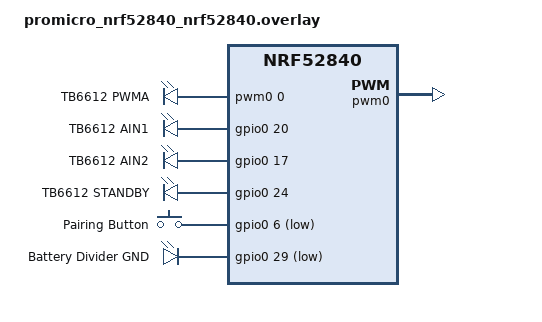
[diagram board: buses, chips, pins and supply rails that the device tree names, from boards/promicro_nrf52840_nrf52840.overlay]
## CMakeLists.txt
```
#
# CMakeLists.txt for LED Copper String Zigbee Controller
#
# SPDX-License-Identifier: Apache-2.0
#

cmake_minimum_required(VERSION 3.20.0)

find_package(Zephyr REQUIRED HINTS $ENV{ZEPHYR_BASE})

project("LED Copper String Controller")

target_sources(app PRIVATE
    ${CMAKE_CURRENT_SOURCE_DIR}/src/main.c
)

target_include_directories(app PRIVATE
    ${CMAKE_CURRENT_SOURCE_DIR}/include
)

# Add include path for pm_config.h (needed by partition manager)
zephyr_include_directories(${CMAKE_CURRENT_SOURCE_DIR}/include)
```

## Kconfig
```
# Application-specific Kconfig options

menu "Application Configuration"

config APP_TB6612_POLARITY_FREQ_HZ
	int "TB6612 polarity alternation frequency (Hz)"
	default 100
	help
	  How fast to alternate polarity to light both LED halves.
	  Higher values = smoother appearance but more CPU usage.
	  100Hz is a good starting point (invisible flicker).

config APP_BATTERY_REPORT_INTERVAL_SEC
	int "Battery report interval in seconds"
	default 600
	help
	  How often to report battery level to the Zigbee coordinator.
	  Default is 3600 seconds (1 hour). Also reports on network join.

endmenu

source "Kconfig.zephyr"
```

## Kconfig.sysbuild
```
#
# Sysbuild Kconfig for LED Copper String Controller
#

if BOOTLOADER_MCUBOOT

# DFU multi-image support for Zigbee OTA
config DFU_MULTI_IMAGE_PACKAGE_BUILD
	default y

config DFU_MULTI_IMAGE_PACKAGE_APP
	default y

endif # BOOTLOADER_MCUBOOT

source "${ZEPHYR_BASE}/share/sysbuild/Kconfig"
```

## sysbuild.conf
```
#
# Base sysbuild configuration for LED Copper String Controller
# MCUboot is disabled by default - board-specific configs enable it
#

SB_CONFIG_BOOTLOADER_MCUBOOT=n
```

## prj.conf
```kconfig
#
# LED Copper String Zigbee Controller Configuration
# Target: Pro Micro nRF52840
#

# Pull in nRF Connect SDK defaults
CONFIG_NCS_SAMPLES_DEFAULTS=y

# Serial / Console
CONFIG_SERIAL=y
CONFIG_CONSOLE=y
CONFIG_UART_CONSOLE=y
CONFIG_UART_INTERRUPT_DRIVEN=y

# Logging
CONFIG_LOG=y
CONFIG_LOG_DEFAULT_LEVEL=3
CONFIG_LOG_BACKEND_UART=y

# GPIO and PWM
CONFIG_GPIO=y
CONFIG_PWM=y

# ADC for battery voltage measurement
CONFIG_ADC=y

# Memory
CONFIG_HEAP_MEM_POOL_SIZE=4096
CONFIG_MAIN_THREAD_PRIORITY=7
CONFIG_SYSTEM_WORKQUEUE_STACK_SIZE=2048

# Zigbee - using ncs-zigbee R23 add-on
CONFIG_ZIGBEE_ADD_ON=y
CONFIG_ZIGBEE_APP_UTILS=y
CONFIG_ZIGBEE_ROLE_END_DEVICE=y
CONFIG_ZIGBEE_CHANNEL_SELECTION_MODE_MULTI=y

# Crypto for Zigbee security
CONFIG_CRYPTO=y
CONFIG_CRYPTO_NRF_ECB=y
CONFIG_CRYPTO_INIT_PRIORITY=80

# Flash / NVS for persistent storage
CONFIG_FLASH=y
CONFIG_FLASH_PAGE_LAYOUT=y
CONFIG_FLASH_MAP=y
CONFIG_NVS=y
CONFIG_SETTINGS=y
CONFIG_SETTINGS_NVS=y
CONFIG_MPU_ALLOW_FLASH_WRITE=y

# Networking (disable unused)
CONFIG_NET_IPV6=n
CONFIG_NET_IP_ADDR_CHECK=n
CONFIG_NET_UDP=n

# Partition Manager - board-specific configs handle this
```

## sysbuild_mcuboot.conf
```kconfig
#
# Sysbuild configuration for MCUboot OTA-enabled builds
#

SB_CONFIG_BOOTLOADER_MCUBOOT=y
```

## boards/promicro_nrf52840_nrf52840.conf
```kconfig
#
# Pro Micro nRF52840 - OTA enabled via MCUboot (sysbuild handles bootloader)
#

# Disable nRF5 bootloader assumption - we use MCUboot from address 0x0
CONFIG_BOARD_HAS_NRF5_BOOTLOADER=n

# =============================================================================
# Power Optimization for Battery Operation
# =============================================================================

# Disable USB serial console (saves ~1-2mA constantly)
# For development with serial debug, comment out these 4 lines:
CONFIG_USB_DEVICE_STACK=n
CONFIG_SERIAL=n
CONFIG_CONSOLE=n
CONFIG_LOG=n

# Power management - enables sleep between Zigbee polls
CONFIG_PM=y

# RAM power down during sleep (significant power savings)
CONFIG_RAM_POWER_DOWN_LIBRARY=y

# =============================================================================
# Zigbee FOTA (OTA Updates)
# =============================================================================
CONFIG_ZIGBEE_FOTA=y
CONFIG_ZIGBEE_FOTA_HW_VERSION=1
CONFIG_ZIGBEE_FOTA_ENDPOINT=10
CONFIG_ZIGBEE_FOTA_COMMENT="LEDCopperV1"
CONFIG_ZIGBEE_FOTA_PROGRESS_EVT=y

# DFU support
CONFIG_DFU_TARGET=y
CONFIG_DFU_TARGET_MCUBOOT=y
CONFIG_STREAM_FLASH=y
CONFIG_IMG_MANAGER=y
CONFIG_IMG_ERASE_PROGRESSIVELY=y

# Image version (increment for each OTA release)
CONFIG_MCUBOOT_IMGTOOL_SIGN_VERSION="1.0.0"
```

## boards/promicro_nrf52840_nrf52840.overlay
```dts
/*
 * Device Tree Overlay for LED Copper String Controller
 * Target: Pro Micro nRF52840 (SuperMini, nice!nano compatible)
 *
 * TB6612 H-Bridge Pin Assignments:
 * - PWMA:    P0.22 - PWM brightness control
 * - AIN1:    P0.20 - Polarity control 1
 * - AIN2:    P0.17 - Polarity control 2
 * - STANDBY: P0.24 - Power save (HIGH = active, LOW = standby)
 *
 * Battery Measurement (voltage divider):
 * - VBATT -> 1MΩ -> P0.31 (AIN7) -> 1MΩ -> P0.29
 * - P0.29: Drive LOW to enable divider, high-Z when idle
 * - P0.31: Analog input (AIN7), measures VBATT/2
 *
 * Other:
 * - Pairing Button: P0.06 (D1) - Active low with internal pull-up
 * - Status LED: P0.15 (onboard) - For network status indication
 *
 * Note: Flash partitions are auto-generated by partition manager
 * when CONFIG_BOOTLOADER_MCUBOOT=y (for OTA support).
 */

/ {
	chosen {
		zephyr,console = &uart0;
		zephyr,shell-uart = &uart0;
		/* settings-partition auto-configured by partition manager */
	};

	aliases {
		pwm-led0 = &pwm_brightness;
		sw0 = &pairing_button;
		led0 = &led0;  /* Onboard LED (P0.15) for status */
	};

	/* PWM for TB6612 PWMA (brightness control) */
	pwmleds {
		compatible = "pwm-leds";
		pwm_brightness: pwm_led_0 {
			pwms = <&pwm0 0 PWM_MSEC(1) PWM_POLARITY_NORMAL>;
			label = "TB6612 PWMA";
		};
	};

	/* TB6612 GPIO control pins */
	tb6612_ctrl {
		compatible = "gpio-leds";

		tb6612_ain1: ain1 {
			gpios = <&gpio0 20 GPIO_ACTIVE_HIGH>;
			label = "TB6612 AIN1";
		};

		tb6612_ain2: ain2 {
			gpios = <&gpio0 17 GPIO_ACTIVE_HIGH>;
			label = "TB6612 AIN2";
		};

		tb6612_standby: standby {
			gpios = <&gpio0 24 GPIO_ACTIVE_HIGH>;
			label = "TB6612 STANDBY";
		};
	};

	buttons {
		compatible = "gpio-keys";
		pairing_button: button_0 {
			gpios = <&gpio0 6 (GPIO_PULL_UP | GPIO_ACTIVE_LOW)>;
			label = "Pairing Button";
			zephyr,code = <INPUT_KEY_0>;
		};
	};

	/* Battery voltage divider control */
	battery_divider {
		compatible = "gpio-leds";
		batt_divider_gnd: batt_gnd {
			gpios = <&gpio0 29 GPIO_ACTIVE_LOW>;
			label = "Battery Divider GND";
		};
	};
};

/* Remap PWM0 to P0.22 for TB6612 PWMA */
&pinctrl {
	pwm0_default: pwm0_default {
		group1 {
			psels = <NRF_PSEL(PWM_OUT0, 0, 22)>;  /* P0.22 = PWMA */
		};
	};

	pwm0_sleep: pwm0_sleep {
		group1 {
			psels = <NRF_PSEL(PWM_OUT0, 0, 22)>;
			low-power-enable;
		};
	};
};

&pwm0 {
	status = "okay";
};

&gpio0 {
	status = "okay";
};
```

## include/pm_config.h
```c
/*
 * Partition Manager configuration for LED Copper String Controller
 * Compatible with flash_map_partition_manager.c
 * Pro Micro nRF52840 only
 */

#ifndef PM_CONFIG_H
#define PM_CONFIG_H

#include <autoconf.h>

/*
 * Pro Micro nRF52840 layout (with MCUboot):
 *   ID 0: 0x000000 - mcuboot
 *   ID 1: 0x00C000 - slot0_partition (primary app)
 *   ID 2: 0x082000 - slot1_partition (secondary/OTA)
 *   ID 3: 0x0E8000 - ZBOSS NVRAM (32KB)
 *   ID 4: 0x0F0000 - ZBOSS Product Config (4KB)
 *   ID 5: 0x0F8000 - Settings Storage (32KB)
 */

#define PM_NUM 6

#define PM_0_LABEL MCUBOOT
#define PM_1_LABEL MCUBOOT_PRIMARY
#define PM_2_LABEL MCUBOOT_SECONDARY
#define PM_3_LABEL ZBOSS_NVRAM
#define PM_4_LABEL ZBOSS_PRODUCT_CONFIG
#define PM_5_LABEL SETTINGS_STORAGE

#define PM_MCUBOOT_ID                   0
#define PM_MCUBOOT_OFFSET               0x0
#define PM_MCUBOOT_SIZE                 0xC000
#define PM_MCUBOOT_DEV                  flash_controller
#define PM_MCUBOOT_DEFAULT_DRIVER_KCONFIG 1

#define PM_MCUBOOT_PRIMARY_ID           1
#define PM_MCUBOOT_PRIMARY_OFFSET       0xC000
#define PM_MCUBOOT_PRIMARY_SIZE         0x76000
#define PM_MCUBOOT_PRIMARY_DEV          flash_controller
#define PM_MCUBOOT_PRIMARY_DEFAULT_DRIVER_KCONFIG 1

#define PM_MCUBOOT_SECONDARY_ID         2
#define PM_MCUBOOT_SECONDARY_OFFSET     0x82000
#define PM_MCUBOOT_SECONDARY_SIZE       0x66000
#define PM_MCUBOOT_SECONDARY_DEV        flash_controller
#define PM_MCUBOOT_SECONDARY_DEFAULT_DRIVER_KCONFIG 1

#define PM_ZBOSS_NVRAM_ID               3
#define PM_ZBOSS_NVRAM_OFFSET           0xE8000
#define PM_ZBOSS_NVRAM_SIZE             0x8000
#define PM_ZBOSS_NVRAM_DEV              flash_controller
#define PM_ZBOSS_NVRAM_DEFAULT_DRIVER_KCONFIG 1

#define PM_ZBOSS_PRODUCT_CONFIG_ID      4
#define PM_ZBOSS_PRODUCT_CONFIG_OFFSET  0xF0000
#define PM_ZBOSS_PRODUCT_CONFIG_SIZE    0x1000
#define PM_ZBOSS_PRODUCT_CONFIG_DEV     flash_controller
#define PM_ZBOSS_PRODUCT_CONFIG_DEFAULT_DRIVER_KCONFIG 1

#define PM_SETTINGS_STORAGE_ID          5
#define PM_SETTINGS_STORAGE_OFFSET      0xF8000
#define PM_SETTINGS_STORAGE_SIZE        0x8000
#define PM_SETTINGS_STORAGE_DEV         flash_controller
#define PM_SETTINGS_STORAGE_DEFAULT_DRIVER_KCONFIG 1

/* Legacy address macros for compatibility */
#define PM_ZBOSS_NVRAM_ADDRESS          PM_ZBOSS_NVRAM_OFFSET
#define PM_ZBOSS_PRODUCT_CONFIG_ADDRESS PM_ZBOSS_PRODUCT_CONFIG_OFFSET

#endif /* PM_CONFIG_H */
```

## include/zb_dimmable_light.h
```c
/*
 * Copyright (c) 2022 Nordic Semiconductor ASA
 *
 * SPDX-License-Identifier: LicenseRef-Nordic-5-Clause
 */

#ifndef ZB_DIMMABLE_LIGHT_H
#define ZB_DIMMABLE_LIGHT_H 1

/**
 *  @defgroup ZB_DEFINE_DEVICE_DIMMABLE_LIGHT Dimmable Light
 *  @{
 *  @details
 *      - @ref ZB_ZCL_BASIC \n
 *      - @ref ZB_ZCL_IDENTIFY \n
 *      - @ref ZB_ZCL_SCENES \n
 *      - @ref ZB_ZCL_GROUPS \n
 *      - @ref ZB_ZCL_ON_OFF \n
 *      - @ref ZB_ZCL_LEVEL_CONTROL
 */

/** Dimmable Light Device ID */
#define ZB_DIMMABLE_LIGHT_DEVICE_ID 0x0101

/** Dimmable light device version */
#define ZB_DEVICE_VER_DIMMABLE_LIGHT 1

/** @cond internals_doc */

/** Dimmable Light IN (server) clusters number */
#define ZB_DIMMABLE_LIGHT_IN_CLUSTER_NUM 6

/** Dimmable Light OUT (client) clusters number */
#define ZB_DIMMABLE_LIGHT_OUT_CLUSTER_NUM 0

/** Dimmable light total (IN+OUT) cluster number */
#define ZB_DIMMABLE_LIGHT_CLUSTER_NUM \
	(ZB_DIMMABLE_LIGHT_IN_CLUSTER_NUM + ZB_DIMMABLE_LIGHT_OUT_CLUSTER_NUM)

/** Number of attribute for reporting on Dimmable Light device */
#define ZB_DIMMABLE_LIGHT_REPORT_ATTR_COUNT \
	(ZB_ZCL_ON_OFF_REPORT_ATTR_COUNT + ZB_ZCL_LEVEL_CONTROL_REPORT_ATTR_COUNT)

/** Continuous value change attribute count */
#define ZB_DIMMABLE_LIGHT_CVC_ATTR_COUNT 1

/** @endcond */ /* internals_doc */

/**
 * @brief Declare cluster list for Dimmable Light device
 * @param cluster_list_name - cluster list variable name
 * @param basic_attr_list - attribute list for Basic cluster
 * @param identify_attr_list - attribute list for Identify cluster
 * @param groups_attr_list - attribute list for Groups cluster
 * @param scenes_attr_list - attribute list for Scenes cluster
 * @param on_off_attr_list - attribute list for On/Off cluster
 * @param level_control_attr_list - attribute list for Level Control cluster
 */
#define ZB_DECLARE_DIMMABLE_LIGHT_CLUSTER_LIST(					   \
	cluster_list_name,							   \
	basic_attr_list,							   \
	identify_attr_list,							   \
	groups_attr_list,							   \
	scenes_attr_list,							   \
	on_off_attr_list,							   \
	level_control_attr_list)						   \
	zb_zcl_cluster_desc_t cluster_list_name[] =				   \
	{									   \
		ZB_ZCL_CLUSTER_DESC(						   \
			ZB_ZCL_CLUSTER_ID_IDENTIFY,				   \
			ZB_ZCL_ARRAY_SIZE(identify_attr_list, zb_zcl_attr_t),	   \
			(identify_attr_list),					   \
			ZB_ZCL_CLUSTER_SERVER_ROLE,				   \
			ZB_ZCL_MANUF_CODE_INVALID				   \
		),								   \
		ZB_ZCL_CLUSTER_DESC(						   \
			ZB_ZCL_CLUSTER_ID_BASIC,				   \
			ZB_ZCL_ARRAY_SIZE(basic_attr_list, zb_zcl_attr_t),	   \
			(basic_attr_list),					   \
			ZB_ZCL_CLUSTER_SERVER_ROLE,				   \
			ZB_ZCL_MANUF_CODE_INVALID				   \
		),								   \
		ZB_ZCL_CLUSTER_DESC(						   \
			ZB_ZCL_CLUSTER_ID_SCENES,				   \
			ZB_ZCL_ARRAY_SIZE(scenes_attr_list, zb_zcl_attr_t),	   \
			(scenes_attr_list),					   \
			ZB_ZCL_CLUSTER_SERVER_ROLE,				   \
			ZB_ZCL_MANUF_CODE_INVALID				   \
		),								   \
		ZB_ZCL_CLUSTER_DESC(						   \
			ZB_ZCL_CLUSTER_ID_GROUPS,				   \
			ZB_ZCL_ARRAY_SIZE(groups_attr_list, zb_zcl_attr_t),	   \
			(groups_attr_list),					   \
			ZB_ZCL_CLUSTER_SERVER_ROLE,				   \
			ZB_ZCL_MANUF_CODE_INVALID				   \
		),								   \
		ZB_ZCL_CLUSTER_DESC(						   \
			ZB_ZCL_CLUSTER_ID_ON_OFF,				   \
			ZB_ZCL_ARRAY_SIZE(on_off_attr_list, zb_zcl_attr_t),	   \
			(on_off_attr_list),					   \
			ZB_ZCL_CLUSTER_SERVER_ROLE,				   \
			ZB_ZCL_MANUF_CODE_INVALID				   \
		),								   \
		ZB_ZCL_CLUSTER_DESC(						   \
			ZB_ZCL_CLUSTER_ID_LEVEL_CONTROL,			   \
			ZB_ZCL_ARRAY_SIZE(level_control_attr_list, zb_zcl_attr_t), \
			(level_control_attr_list),				   \
			ZB_ZCL_CLUSTER_SERVER_ROLE,				   \
			ZB_ZCL_MANUF_CODE_INVALID				   \
		)								   \
	}

/** @cond internals_doc */
/**
 * @brief Declare simple descriptor for Dimmable Light device
 * @param ep_name - endpoint variable name
 * @param ep_id - endpoint ID
 * @param in_clust_num - number of supported input clusters
 * @param out_clust_num - number of supported output clusters
 */
#define ZB_ZCL_DECLARE_HA_DIMMABLE_LIGHT_SIMPLE_DESC(ep_name, ep_id, in_clust_num, out_clust_num) \
	ZB_DECLARE_SIMPLE_DESC(in_clust_num, out_clust_num);					  \
	ZB_AF_SIMPLE_DESC_TYPE(in_clust_num, out_clust_num) simple_desc_##ep_name =		  \
	{											  \
		ep_id,										  \
		ZB_AF_HA_PROFILE_ID,								  \
		ZB_DIMMABLE_LIGHT_DEVICE_ID,							  \
		ZB_DEVICE_VER_DIMMABLE_LIGHT,							  \
		0,										  \
		in_clust_num,									  \
		out_clust_num,									  \
		{										  \
			ZB_ZCL_CLUSTER_ID_BASIC,						  \
			ZB_ZCL_CLUSTER_ID_IDENTIFY,						  \
			ZB_ZCL_CLUSTER_ID_SCENES,						  \
			ZB_ZCL_CLUSTER_ID_GROUPS,						  \
			ZB_ZCL_CLUSTER_ID_ON_OFF,						  \
			ZB_ZCL_CLUSTER_ID_LEVEL_CONTROL,					  \
		}										  \
	}

/** @endcond */ /* internals_doc */

/**
 * @brief Declare endpoint for Dimmable Light device
 * @param ep_name - endpoint variable name
 * @param ep_id - endpoint ID
 * @param cluster_list - endpoint cluster list
 */
#define ZB_DECLARE_DIMMABLE_LIGHT_EP(ep_name, ep_id, cluster_list)		      \
	ZB_ZCL_DECLARE_HA_DIMMABLE_LIGHT_SIMPLE_DESC(ep_name, ep_id,		      \
		ZB_DIMMABLE_LIGHT_IN_CLUSTER_NUM, ZB_DIMMABLE_LIGHT_OUT_CLUSTER_NUM); \
	ZBOSS_DEVICE_DECLARE_REPORTING_CTX(reporting_info## ep_name,		      \
		ZB_DIMMABLE_LIGHT_REPORT_ATTR_COUNT);				      \
	ZBOSS_DEVICE_DECLARE_LEVEL_CONTROL_CTX(cvc_alarm_info## ep_name,	      \
		ZB_DIMMABLE_LIGHT_CVC_ATTR_COUNT);				      \
	ZB_AF_DECLARE_ENDPOINT_DESC(ep_name, ep_id, ZB_AF_HA_PROFILE_ID,	      \
		0,								      \
		NULL,								      \
		ZB_ZCL_ARRAY_SIZE(cluster_list, zb_zcl_cluster_desc_t), cluster_list, \
			(zb_af_simple_desc_1_1_t *)&simple_desc_## ep_name,	      \
			ZB_DIMMABLE_LIGHT_REPORT_ATTR_COUNT,			      \
			reporting_info## ep_name,				      \
			ZB_DIMMABLE_LIGHT_CVC_ATTR_COUNT,			      \
			cvc_alarm_info## ep_name)

/** @} */

#endif /* ZB_DIMMABLE_LIGHT_H */
```

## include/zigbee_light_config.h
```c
/**
 * @file zigbee_light_config.h
 * @brief Zigbee LED Copper String Controller Configuration
 *
 * Defines all Zigbee clusters, attributes, and endpoint configuration
 * for a ZHA-compliant dimmable light device.
 */

#ifndef ZIGBEE_LIGHT_CONFIG_H
#define ZIGBEE_LIGHT_CONFIG_H

#include <zephyr/kernel.h>
#include <zboss_api.h>
#include <zboss_api_addons.h>
#include "zb_dimmable_light.h"

/* ==========================================================================
 * Device Identification
 * ========================================================================== */

/**
 * Manufacturer code - Registered with Zigbee Alliance or use test range.
 * Test/development range: 0x1000-0x10FF
 * Generated value within test range.
 */
#define ZB_LIGHT_MANUFACTURER_CODE      0x1042U

/**
 * Device identifiers following Zigbee HA profile specification.
 * HA_DEV_ID_DIMMABLE_LIGHT = 0x0101 per ZCL specification.
 */
#define ZB_LIGHT_DEVICE_ID              ZB_DIMMABLE_LIGHT_DEVICE_ID
#define ZB_LIGHT_DEVICE_VERSION         1U

/* ==========================================================================
 * Endpoint Configuration
 * ========================================================================== */

#define ZB_LIGHT_ENDPOINT               1U

/* ==========================================================================
 * Cluster Attribute Counts
 * ========================================================================== */

#define ZB_LIGHT_BASIC_ATTR_COUNT       (ZB_ZCL_BASIC_ATTR_COUNT + 4)
#define ZB_LIGHT_IDENTIFY_ATTR_COUNT    ZB_ZCL_IDENTIFY_ATTR_COUNT
#define ZB_LIGHT_GROUPS_ATTR_COUNT      ZB_ZCL_GROUPS_ATTR_COUNT
#define ZB_LIGHT_SCENES_ATTR_COUNT      ZB_ZCL_SCENES_ATTR_COUNT
#define ZB_LIGHT_ON_OFF_ATTR_COUNT      ZB_ZCL_ON_OFF_ATTR_COUNT
#define ZB_LIGHT_LEVEL_CONTROL_ATTR_COUNT ZB_ZCL_LEVEL_CONTROL_ATTR_COUNT

/* ==========================================================================
 * Cluster Lists
 * ========================================================================== */

#define ZB_LIGHT_IN_CLUSTER_COUNT       6U
#define ZB_LIGHT_OUT_CLUSTER_COUNT      0U
#define ZB_LIGHT_REPORT_ATTR_COUNT      2U

/* ==========================================================================
 * String Constants (ZCL max lengths enforced)
 * ========================================================================== */

#define ZB_LIGHT_MANUFACTURER_NAME      "DIY"
#define ZB_LIGHT_MANUFACTURER_NAME_LEN  3U

#define ZB_LIGHT_MODEL_ID               "LEDCopperV1"
#define ZB_LIGHT_MODEL_ID_LEN           11U

#define ZB_LIGHT_DATE_CODE              "20250120"
#define ZB_LIGHT_DATE_CODE_LEN          8U

#define ZB_LIGHT_SW_BUILD_ID            "1.0.0"
#define ZB_LIGHT_SW_BUILD_ID_LEN        5U

/* ==========================================================================
 * Level Control Configuration
 * ========================================================================== */

#define ZB_LIGHT_LEVEL_MIN              0U
#define ZB_LIGHT_LEVEL_MAX              254U
#define ZB_LIGHT_LEVEL_DEFAULT          254U
#define ZB_LIGHT_TRANSITION_TIME        5U

/* ==========================================================================
 * TB6612 Configuration
 * ========================================================================== */

/* PWM frequency for brightness control (1kHz default) */
#define TB6612_PWM_FREQUENCY_HZ         1000U
#define TB6612_PWM_PERIOD_US            (1000000U / TB6612_PWM_FREQUENCY_HZ)

/* Polarity alternation frequency (how fast to switch between halves) */
#ifdef CONFIG_APP_TB6612_POLARITY_FREQ_HZ
#define TB6612_POLARITY_FREQ_HZ         CONFIG_APP_TB6612_POLARITY_FREQ_HZ
#else
#define TB6612_POLARITY_FREQ_HZ         100U
#endif

#define TB6612_POLARITY_PERIOD_US       (1000000U / TB6612_POLARITY_FREQ_HZ)

/* ==========================================================================
 * Button Configuration
 * ========================================================================== */

#define BUTTON_LONG_PRESS_THRESHOLD_MS  3000U
#define BUTTON_DEBOUNCE_TIME_MS         50U

/* ==========================================================================
 * Network Configuration
 * ========================================================================== */

#define ZB_LIGHT_STEERING_TIMEOUT_SEC   180U

/* ==========================================================================
 * Install Code (16 bytes + 2 byte CRC)
 * Generated for development - replace in production
 * ========================================================================== */

#define ZB_LIGHT_INSTALL_CODE { \
    0x83U, 0xFEU, 0xD3U, 0x40U, 0x7AU, 0x93U, 0x97U, 0x23U, \
    0xA5U, 0xC6U, 0x39U, 0xB2U, 0x69U, 0x16U, 0xD5U, 0x05U, \
    0xC3U, 0xB5U  /* CRC16 */ \
}

/* ==========================================================================
 * Conversion Macros
 * ========================================================================== */

/**
 * Convert Zigbee level (0-254) to PWM duty cycle.
 */
#define ZB_LEVEL_TO_PWM(level, period) \
    (((uint32_t)(level) * (uint32_t)(period)) / 254U)

/**
 * Convert PWM duty cycle to Zigbee level.
 */
#define PWM_TO_ZB_LEVEL(duty, period) \
    ((uint8_t)(((uint32_t)(duty) * 254U) / (uint32_t)(period)))

#endif /* ZIGBEE_LIGHT_CONFIG_H */
```
